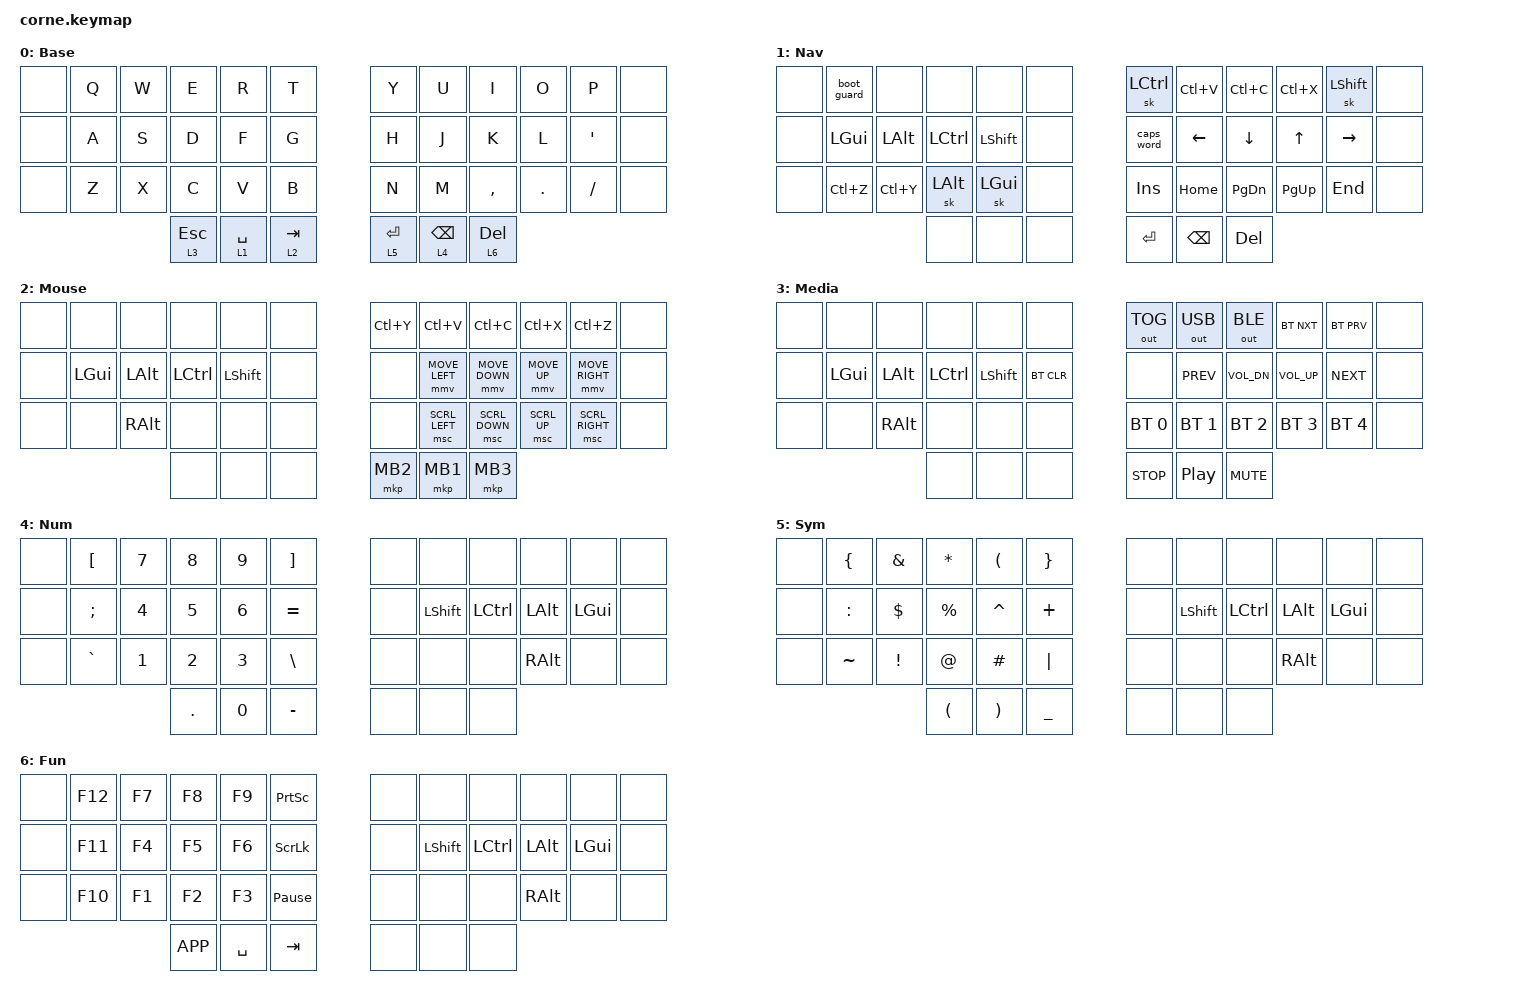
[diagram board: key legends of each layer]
/*
 * Corne 3x5+3 — Miryoku Fast Base V2 (7 layers).
 * Physically 36 keys; Corne shield expects 42 key positions:
 * each of the three 12-position rows pads one absent key per edge.
 *
 * Layer IDs: 0 Base, 1 Nav, 2 Mouse, 3 Media, 4 Num, 5 Sym, 6 Fun.
 * NOTE: This deliberately does not include miryoku.dtsi or its
 * 10-layer list, to avoid stale Tap/Extra/Button layer IDs.
 */

#include <behaviors.dtsi>
#include <behaviors/mouse_keys.dtsi>
#include <dt-bindings/zmk/keys.h>
#include <dt-bindings/zmk/bt.h>
#include <dt-bindings/zmk/outputs.h>
#include <dt-bindings/zmk/pointing.h>

/ {
    behaviors {
        u_lt: thumb_layer_tap {
            compatible = "zmk,behavior-hold-tap";
            #binding-cells = <2>;
            tapping-term-ms = <180>;
            flavor = "hold-preferred";
            bindings = <&mo>, <&kp>;
        };

        boot_guard: boot_guard {
            compatible = "zmk,behavior-tap-dance";
            #binding-cells = <0>;
            tapping-term-ms = <250>;
            bindings = <&none>, <&bootloader>;
        };
    };

    keymap {
        compatible = "zmk,keymap";

        base {
            display-name = "Base";
            bindings = <
                /* Row 1 */ &none   &kp Q   &kp W   &kp E   &kp R   &kp T   &kp Y   &kp U   &kp I   &kp O   &kp P   &none
                /* Row 2 */ &none   &kp A   &kp S   &kp D   &kp F   &kp G   &kp H   &kp J   &kp K   &kp L   &kp SQT   &none
                /* Row 3 */ &none   &kp Z   &kp X   &kp C   &kp V   &kp B   &kp N   &kp M   &kp COMMA   &kp DOT   &kp SLASH   &none
                /* Thumbs */ &u_lt 3 ESC   &u_lt 1 SPACE   &u_lt 2 TAB   &u_lt 5 RET   &u_lt 4 BSPC   &u_lt 6 DEL
            >;
        };

        nav {
            display-name = "Nav";
            bindings = <
                /* Row 1 */ &none   &boot_guard   &none   &none   &none   &none   &sk LCTRL   &kp LC(V)   &kp LC(C)   &kp LC(X)   &sk LSHFT   &none
                /* Row 2 */ &none   &kp LGUI   &kp LALT   &kp LCTRL   &kp LSHFT   &none   &caps_word   &kp LEFT   &kp DOWN   &kp UP   &kp RIGHT   &none
                /* Row 3 */ &none   &kp LC(Z)   &kp LC(Y)   &sk LALT   &sk LGUI   &none   &kp INS   &kp HOME   &kp PG_DN   &kp PG_UP   &kp END   &none
                /* Thumbs */ &none   &none   &none   &kp RET   &kp BSPC   &kp DEL
            >;
        };

        mouse {
            display-name = "Mouse";
            bindings = <
                /* Row 1 */ &none   &none   &none   &none   &none   &none   &kp LC(Y)   &kp LC(V)   &kp LC(C)   &kp LC(X)   &kp LC(Z)   &none
                /* Row 2 */ &none   &kp LGUI   &kp LALT   &kp LCTRL   &kp LSHFT   &none   &none   &mmv MOVE_LEFT   &mmv MOVE_DOWN   &mmv MOVE_UP   &mmv MOVE_RIGHT   &none
                /* Row 3 */ &none   &none   &kp RALT   &none   &none   &none   &none   &msc SCRL_LEFT   &msc SCRL_DOWN   &msc SCRL_UP   &msc SCRL_RIGHT   &none
                /* Thumbs */ &none   &none   &none   &mkp MB2   &mkp MB1   &mkp MB3
            >;
        };

        media {
            display-name = "Media";
            bindings = <
                /* Row 1 */ &none   &none   &none   &none   &none   &none   &out OUT_TOG   &out OUT_USB   &out OUT_BLE   &bt BT_NXT   &bt BT_PRV   &none
                /* Row 2 */ &none   &kp LGUI   &kp LALT   &kp LCTRL   &kp LSHFT   &bt BT_CLR   &none   &kp C_PREV   &kp C_VOL_DN   &kp C_VOL_UP   &kp C_NEXT   &none
                /* Row 3 */ &none   &none   &kp RALT   &none   &none   &none   &bt BT_SEL 0   &bt BT_SEL 1   &bt BT_SEL 2   &bt BT_SEL 3   &bt BT_SEL 4   &none
                /* Thumbs */ &none   &none   &none   &kp C_STOP   &kp C_PP   &kp C_MUTE
            >;
        };

        num {
            display-name = "Num";
            bindings = <
                /* Row 1 */ &none   &kp LBKT   &kp N7   &kp N8   &kp N9   &kp RBKT   &none   &none   &none   &none   &none   &none
                /* Row 2 */ &none   &kp SEMI   &kp N4   &kp N5   &kp N6   &kp EQUAL   &none   &kp LSHFT   &kp LCTRL   &kp LALT   &kp LGUI   &none
                /* Row 3 */ &none   &kp GRAVE   &kp N1   &kp N2   &kp N3   &kp BSLH   &none   &none   &none   &kp RALT   &none   &none
                /* Thumbs */ &kp DOT   &kp N0   &kp MINUS   &none   &none   &none
            >;
        };

        sym {
            display-name = "Sym";
            bindings = <
                /* Row 1 */ &none   &kp LBRC   &kp AMPS   &kp ASTRK   &kp LPAR   &kp RBRC   &none   &none   &none   &none   &none   &none
                /* Row 2 */ &none   &kp COLON   &kp DLLR   &kp PRCNT   &kp CARET   &kp PLUS   &none   &kp LSHFT   &kp LCTRL   &kp LALT   &kp LGUI   &none
                /* Row 3 */ &none   &kp TILDE   &kp EXCL   &kp AT   &kp HASH   &kp PIPE   &none   &none   &none   &kp RALT   &none   &none
                /* Thumbs */ &kp LPAR   &kp RPAR   &kp UNDER   &none   &none   &none
            >;
        };

        fun {
            display-name = "Fun";
            bindings = <
                /* Row 1 */ &none   &kp F12   &kp F7   &kp F8   &kp F9   &kp PSCRN   &none   &none   &none   &none   &none   &none
                /* Row 2 */ &none   &kp F11   &kp F4   &kp F5   &kp F6   &kp SLCK   &none   &kp LSHFT   &kp LCTRL   &kp LALT   &kp LGUI   &none
                /* Row 3 */ &none   &kp F10   &kp F1   &kp F2   &kp F3   &kp PAUSE_BREAK   &none   &none   &none   &kp RALT   &none   &none
                /* Thumbs */ &kp K_APP   &kp SPACE   &kp TAB   &none   &none   &none
            >;
        };
    };
};

&mmv {
    acceleration-exponent = <1>;
    time-to-max-speed-ms = <1500>;
    delay-ms = <0>;
};

&kscan0 {
    debounce-press-ms = <1>;
    debounce-release-ms = <5>;
};
